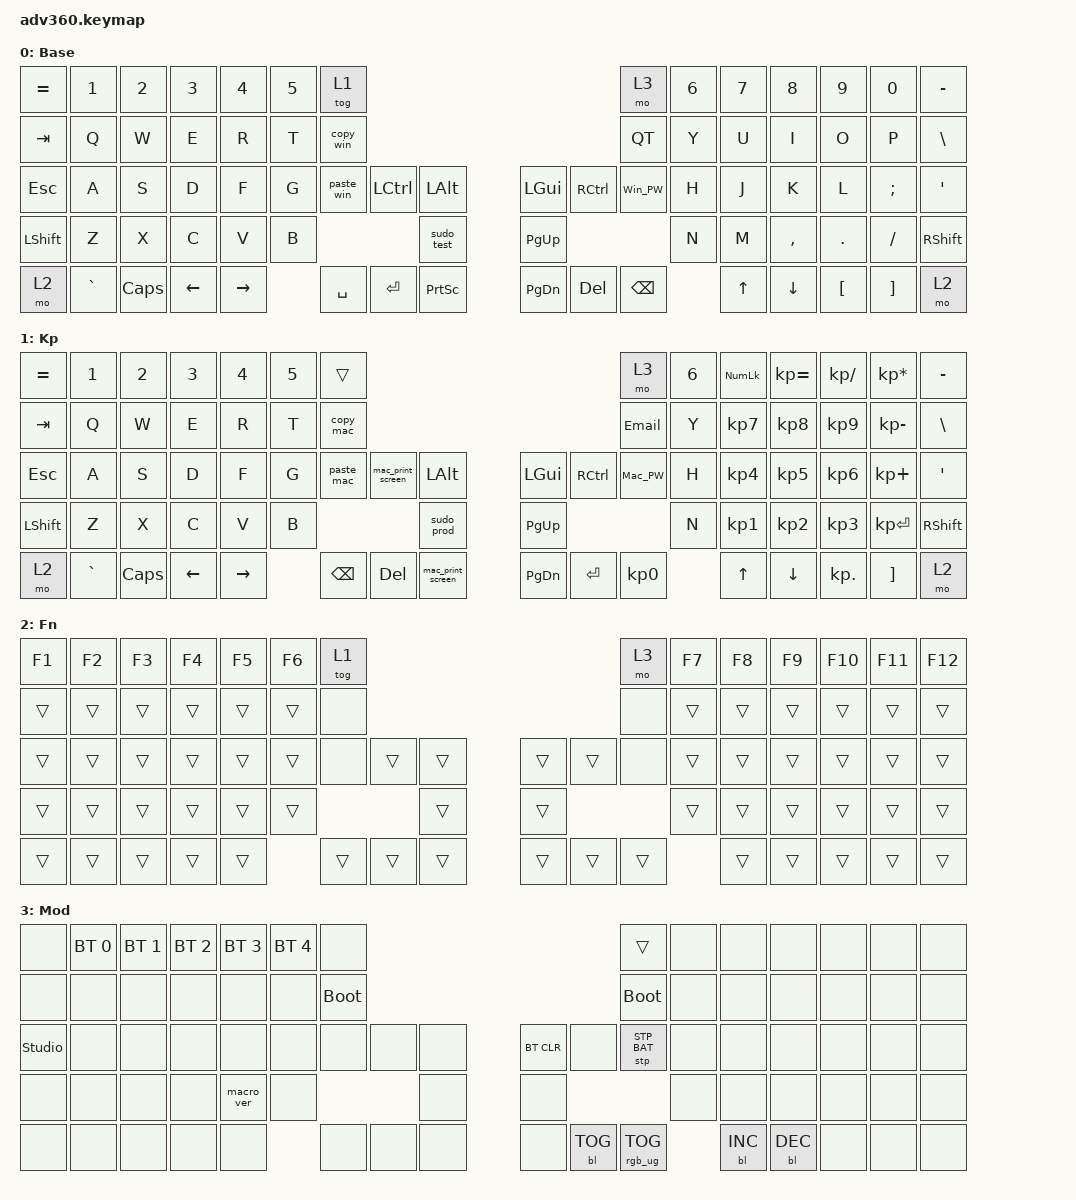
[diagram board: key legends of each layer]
#include <dt-bindings/zmk/stp.h>
#include <behaviors.dtsi>
#include <dt-bindings/zmk/backlight.h>
#include <dt-bindings/zmk/bt.h>
#include <dt-bindings/zmk/keys.h>
#include <dt-bindings/zmk/rgb.h>

/ {
    behaviors {
        #include "macros.dtsi"
      #include "version.dtsi"

        hm: homerow_mods {
            compatible = "zmk,behavior-hold-tap";
            label = "HOMEROW_MODS";
            #binding-cells = <2>;
            tapping-term-ms = <200>;
            quick_tap_ms = <175>;
            flavor = "tap-preferred";
            bindings = <&kp>, <&kp>;
        };
    };

    macros {
        copy_win: copy {
            compatible = "zmk,behavior-macro";
            #binding-cells = <0>;
            bindings = <&macro_tap>, <&kp LC(C)>;

            label = "COPY";
        };

        paste_win: paste {
            compatible = "zmk,behavior-macro";
            #binding-cells = <0>;
            bindings = <&macro_tap>, <&kp LC(V)>;

            label = "PASTE";
        };

        QT: QT {
            compatible = "zmk,behavior-macro";
            #binding-cells = <0>;
            bindings = <&kp Q &kp X &kp Z &kp N3 &kp H &kp N3 &kp W>;
            label = "QT";
        };

        Win_PW: PW {
            compatible = "zmk,behavior-macro";
            #binding-cells = <0>;
            bindings = <&kp LS(B) &kp M &kp W &kp LS(D) &kp I &kp C &kp N1 &kp N2 &kp N3 &kp N4 &kp N2 &kp N0 &kp N2 &kp N6 &kp POUND &kp I &kp LS(P) &kp A &kp A &kp N1 &kp N9 &kp N6 &kp N7>;
            label = "PW";
        };

        Mac_PW: Mac_PW {
            compatible = "zmk,behavior-macro";
            #binding-cells = <0>;
            bindings = <&kp LS(M) &kp A &kp C &kp LS(S) &kp T &kp U &kp LS(M) &kp A &kp R &kp NUMBER_1 &kp NUMBER_3 &kp NUMBER_2 &kp N0 &kp NUMBER_2 &kp N5 &kp EXCLAMATION>;
            label = "MAC_PW";
        };

        Email: Email {
            compatible = "zmk,behavior-macro";
            #binding-cells = <0>;
            bindings = <&kp P &kp E &kp D &kp R &kp O &kp PERIOD &kp A &kp PERIOD &kp A &kp R &kp I &kp A &kp S &kp AT_SIGN &kp G &kp M &kp A &kp I &kp L &kp PERIOD &kp C &kp O &kp M>;
            label = "EMAIL";
        };

        copy_mac: copy_mac {
            compatible = "zmk,behavior-macro";
            #binding-cells = <0>;
            bindings = <&kp LG(C)>;
            label = "COPY_MAC";
        };

        paste_mac: paste_mac {
            compatible = "zmk,behavior-macro";
            #binding-cells = <0>;
            bindings = <&kp LG(V)>;
            label = "PASTE_MAC";
        };

        print_screen_win: print_screen_win {
            compatible = "zmk,behavior-macro";
            #binding-cells = <0>;
            bindings = <&print_screen_win>;
            label = "PRINT_SCREEN_WIN";
        };

        mac_print_screen: print_screen_mac {
            compatible = "zmk,behavior-macro";
            #binding-cells = <0>;
            bindings = <&kp LS(LG(NUMBER_4))>;
            label = "PRINT_SCREEN_MAC";
        };

        sudo_test: sudo_test {
            compatible = "zmk,behavior-macro";
            #binding-cells = <0>;
            bindings = <&kp S &kp U &kp D &kp O &kp SPACE &kp SLASH &kp B &kp I &kp N &kp SLASH &kp R &kp O &kp O &kp T &kp S &kp H &kp SPACE &kp MINUS &kp I &kp SPACE &kp MINUS &kp U &kp SPACE &kp Q &kp Q &kp M &kp C &kp Q &kp N0 &kp N0>;
            label = "SUDO_TEST";
        };

        sudo_prod: sudo_prod {
            compatible = "zmk,behavior-macro";
            #binding-cells = <0>;
            bindings = <&kp S &kp U &kp D &kp O &kp SPACE &kp SLASH &kp B &kp I &kp N &kp SLASH &kp R &kp O &kp O &kp T &kp S &kp H &kp SPACE &kp MINUS &kp I &kp SPACE &kp MINUS &kp U &kp SPACE &kp Q &kp Q &kp M &kp C &kp P &kp N0 &kp N0>;
            label = "SUDO_PROD";
        };
    };

    keymap {
        compatible = "zmk,keymap";

        default_layer {
            display-name = "Base";
            bindings = <
&kp EQUAL  &kp N1     &kp N2    &kp N3    &kp N4     &kp N5  &tog 1                                                            &mo 3     &kp N6  &kp N7  &kp N8     &kp N9    &kp N0    &kp MINUS
&kp TAB    &kp Q      &kp W     &kp E     &kp R      &kp T   &copy_win                                                         &QT       &kp Y   &kp U   &kp I      &kp O     &kp P     &kp BSLH
&kp ESC    &kp A      &kp S     &kp D     &kp F      &kp G   &paste_win  &kp LCTRL  &kp LALT             &kp LGUI   &kp RCTRL  &Win_PW   &kp H   &kp J   &kp K      &kp L     &kp SEMI  &kp SQT
&kp LSHFT  &kp Z      &kp X     &kp C     &kp V      &kp B                          &sudo_test           &kp PG_UP                       &kp N   &kp M   &kp COMMA  &kp DOT   &kp FSLH  &kp RSHFT
&mo 2      &kp GRAVE  &kp CAPS  &kp LEFT  &kp RIGHT          &kp SPACE   &kp ENTER  &kp PRINTSCREEN      &kp PG_DN  &kp DEL    &kp BSPC          &kp UP  &kp DOWN   &kp LBKT  &kp RBKT  &mo 2
            >;
        };

        keypad {
            display-name = "Kp";
            bindings = <
&kp EQUAL  &kp N1     &kp N2    &kp N3    &kp N4     &kp N5  &trans                                                                      &mo 3      &kp N6  &kp KP_NUM  &kp KP_EQUAL  &kp KP_DIVIDE  &kp KP_MULTIPLY  &kp MINUS
&kp TAB    &kp Q      &kp W     &kp E     &kp R      &kp T   &copy_mac                                                                   &Email     &kp Y   &kp KP_N7   &kp KP_N8     &kp KP_N9      &kp KP_MINUS     &kp BSLH
&kp ESC    &kp A      &kp S     &kp D     &kp F      &kp G   &paste_mac  &mac_print_screen  &kp LALT               &kp LGUI   &kp RCTRL  &Mac_PW    &kp H   &kp KP_N4   &kp KP_N5     &kp KP_N6      &kp KP_PLUS      &kp SQT
&kp LSHFT  &kp Z      &kp X     &kp C     &kp V      &kp B                                  &sudo_prod             &kp PG_UP                        &kp N   &kp KP_N1   &kp KP_N2     &kp KP_N3      &kp KP_ENTER     &kp RSHFT
&mo 2      &kp GRAVE  &kp CAPS  &kp LEFT  &kp RIGHT          &kp BSPC    &kp DEL            &mac_print_screen      &kp PG_DN  &kp ENTER  &kp KP_N0          &kp UP      &kp DOWN      &kp KP_DOT     &kp RBKT         &mo 2
            >;
        };

        fn {
            display-name = "Fn";
            bindings = <
&kp F1  &kp F2  &kp F3  &kp F4  &kp F5  &kp F6  &tog 1                                      &mo 3   &kp F7  &kp F8  &kp F9  &kp F10  &kp F11  &kp F12
&trans  &trans  &trans  &trans  &trans  &trans  &none                                       &none   &trans  &trans  &trans  &trans   &trans   &trans
&trans  &trans  &trans  &trans  &trans  &trans  &none   &trans  &trans      &trans  &trans  &none   &trans  &trans  &trans  &trans   &trans   &trans
&trans  &trans  &trans  &trans  &trans  &trans                  &trans      &trans                  &trans  &trans  &trans  &trans   &trans   &trans
&trans  &trans  &trans  &trans  &trans          &trans  &trans  &trans      &trans  &trans  &trans          &trans  &trans  &trans   &trans   &trans
            >;
        };

        mod {
            display-name = "Mod";
            bindings = <
&none           &bt BT_SEL 0  &bt BT_SEL 1  &bt BT_SEL 2  &bt BT_SEL 3  &bt BT_SEL 4  &none                                                  &trans           &none  &none       &none       &none  &none  &none
&none           &none         &none         &none         &none         &none         &bootloader                                            &bootloader      &none  &none       &none       &none  &none  &none
&studio_unlock  &none         &none         &none         &none         &none         &none        &none  &none      &bt BT_CLR  &none       &stp STP_BAT     &none  &none       &none       &none  &none  &none
&none           &none         &none         &none         &macro_ver    &none                             &none      &none                                    &none  &none       &none       &none  &none  &none
&none           &none         &none         &none         &none                       &none        &none  &none      &none       &bl BL_TOG  &rgb_ug RGB_TOG         &bl BL_INC  &bl BL_DEC  &none  &none  &none
            >;
        };

        extra1 {
            display-name = "Red";
            status = "reserved";
        };

        extra2 {
            display-name = "Purple";
            status = "reserved";
        };

        extra3 {
            display-name = "Cyan";
            status = "reserved";
        };

        extra4 {
            display-name = "Yellow";
            status = "reserved";
        };
    };
};
